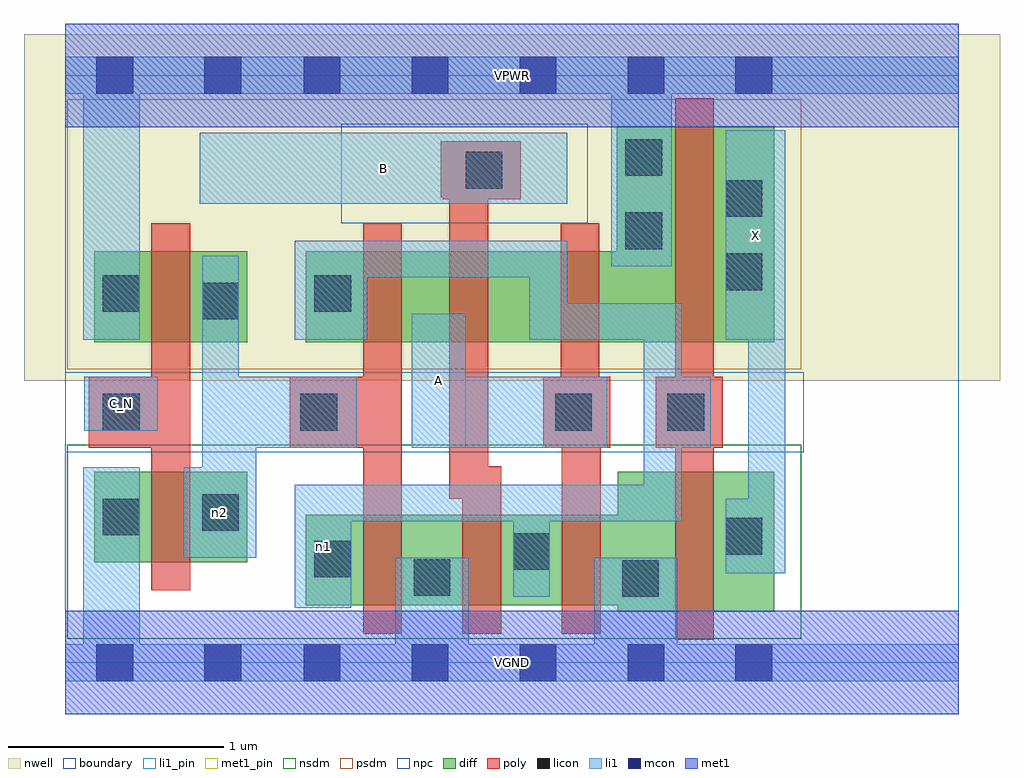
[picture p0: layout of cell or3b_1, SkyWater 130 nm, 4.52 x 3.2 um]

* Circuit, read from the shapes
.subckt or3b_1 A B C_N VGND VPWR X n1 n2
XM1 n2 C_N VGND VSUBS sky130_fd_pr__nfet_01v8 w=0.42 l=0.18
XM2 VGND n2 n1 VSUBS sky130_fd_pr__nfet_01v8 w=0.42 l=0.18
XM3 n1 B VGND VSUBS sky130_fd_pr__nfet_01v8 w=0.42 l=0.18
XM4 VGND A n1 VSUBS sky130_fd_pr__nfet_01v8 w=0.42 l=0.18
XM5 X n1 VGND VSUBS sky130_fd_pr__nfet_01v8 w=0.65 l=0.18
XM6 n2 C_N VPWR n3 sky130_fd_pr__pfet_01v8 w=0.42 l=0.18
XM7 n4 n2 n1 n3 sky130_fd_pr__pfet_01v8 w=0.42 l=0.18
XM8 n5 B n4 n3 sky130_fd_pr__pfet_01v8 w=0.42 l=0.18
XM9 VPWR A n5 n3 sky130_fd_pr__pfet_01v8 w=0.42 l=0.18
XM10 X n1 VPWR n3 sky130_fd_pr__pfet_01v8 w=1 l=0.18
.ends

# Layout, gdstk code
import gdstk
lib = gdstk.Library(unit=1e-6, precision=1e-09)
def R(c, l, rs):  # rectangles x0, y0, x1, y1
    for r in rs: c.add(gdstk.rectangle(r[:2], r[2:], *l))
def A(c, l, x, y, w, h, nx, ny, dx, dy):  # array of equal rectangles
    R(c, l, [(x+i*dx, y+j*dy, x+i*dx+w, y+j*dy+h) for i in range(nx) for j in range(ny)])
nwell = (64, 20)
diff = (65, 20)
poly = (66, 20)
licon = (66, 44)
li1_pin = (67, 16)
li1 = (67, 20)
mcon = (67, 44)
met1_pin = (68, 16)
met1 = (68, 20)
nsdm = (93, 44)
psdm = (94, 20)
npc = (95, 20)
boundary = (235, 4)

or3b_1 = lib.new_cell('or3b_1')
R(or3b_1, nwell, [(-0.19,1.305,4.33,2.91), (0,1.305,4.14,2.91)])
R(or3b_1, diff, [(2.56,0.235,3.285,0.885), (1.115,0.265,3.285,0.685), (0.135,0.465,0.845,0.885), (0.135,1.485,0.845,1.905), (1.115,1.485,3.285,1.905), (2.555,1.485,3.285,2.485)])
R(or3b_1, poly, [(2.825,0.105,3.005,2.615), (1.38,0.135,1.56,2.035), (1.84,0.135,2.02,0.91), (2.3,0.135,2.48,1.325), (0.4,0.335,0.58,2.035), (1.78,0.76,1.96,2.415), (0.11,0.995,0.58,1.325), (1.04,0.995,1.56,1.325), (2.225,0.995,2.525,1.325), (2.295,0.995,2.475,2.035), (2.735,0.995,3.045,1.325), (2.215,1.005,2.525,1.325), (1.75,2.145,2.11,2.415), (1.74,2.155,2.11,2.415)])
R(or3b_1, licon, [(2.58,0.305,2.75,0.475), (1.615,0.31,1.785,0.48), (1.155,0.395,1.325,0.565), (2.075,0.43,2.245,0.6), (3.06,0.5,3.23,0.67), (0.175,0.59,0.345,0.76), (0.635,0.61,0.805,0.78), (0.175,1.075,0.345,1.245), (1.09,1.075,1.26,1.245), (2.27,1.075,2.44,1.245), (2.79,1.075,2.96,1.245), (0.635,1.59,0.805,1.76), (0.175,1.625,0.345,1.795), (1.155,1.625,1.325,1.795), (3.06,1.725,3.23,1.895), (2.595,1.915,2.765,2.085), (3.06,2.065,3.23,2.235), (1.855,2.195,2.025,2.365), (2.595,2.255,2.765,2.425)])
R(or3b_1, li1_pin, [(1.605,0.995,1.855,1.615), (0.09,1.075,0.43,1.325), (3.06,1.495,3.335,2.465), (0.625,2.125,2.325,2.455)])
R(or3b_1, li1, [(0,-0.085,4.14,0.085), (0.085,-0.085,0.345,0.905), (1.53,-0.085,1.87,0.485), (2.45,-0.085,2.835,0.485), (1.065,0.255,1.325,0.825), (2.075,0.305,2.245,0.825), (3.06,0.415,3.335,0.76), (3.165,0.415,3.335,2.465), (0.55,0.485,0.885,0.905), (0.635,0.485,0.805,1.885), (0.635,0.485,0.885,1.325), (1.065,0.655,2.855,0.825), (2.68,0.655,2.855,1.665), (0.635,0.995,1.35,1.325), (1.605,0.995,2.51,1.325), (1.605,0.995,1.855,1.615), (2.68,0.995,2.99,1.325), (0.09,1.075,0.43,1.325), (0.085,1.495,0.345,2.805), (1.065,1.495,1.4,1.955), (2.15,1.495,2.855,1.665), (2.15,1.495,2.325,1.955), (3.06,1.495,3.335,2.465), (1.065,1.785,2.325,1.955), (2.53,1.835,2.81,2.805), (0.625,2.125,2.325,2.455), (0,2.635,4.14,2.805)])
A(or3b_1, mcon, 1.105, -0.085, 0.17, 0.17, 5, 2, 0.5, 2.72)
R(or3b_1, mcon, [(0.145,-0.085,0.315,0.085), (0.645,-0.085,0.815,0.085), (0.145,2.635,0.315,2.805), (0.645,2.635,0.815,2.805)])
R(or3b_1, met1_pin, [(0,-0.24,4.14,0.24), (0,2.48,4.14,2.96)])
R(or3b_1, met1, [(0,-0.24,4.14,0.24), (0,2.48,4.14,2.96)])
R(or3b_1, nsdm, [(0.01,0.11,3.41,1.01)])
R(or3b_1, psdm, [(0.01,1.36,3.41,2.61)])
R(or3b_1, npc, [(0,0.975,3.42,1.345), (1.28,2.035,2.42,2.495)])
R(or3b_1, boundary, [(0,0,4.14,2.72)])
or3b_1.add(gdstk.Label('A', (1.73,1.305), layer=67, texttype=5))
or3b_1.add(gdstk.Label('B', (1.475,2.29), layer=67, texttype=5))
or3b_1.add(gdstk.Label('C_N', (0.26,1.2), layer=67, texttype=5))
or3b_1.add(gdstk.Label('X', (3.197,1.98), layer=67, texttype=5))
or3b_1.add(gdstk.Label('n2', (0.717,0.695), layer=67, texttype=5))
or3b_1.add(gdstk.Label('n1', (1.195,0.54), layer=67, texttype=5))
or3b_1.add(gdstk.Label('VPWR', (2.07,2.72), layer=68, texttype=5))
or3b_1.add(gdstk.Label('VGND', (2.07,0), layer=68, texttype=5))
or3b_1.add(gdstk.Label('A', (1.73,1.305), layer=67, texttype=16))
or3b_1.add(gdstk.Label('B', (1.475,2.29), layer=67, texttype=16))
or3b_1.add(gdstk.Label('C_N', (0.26,1.2), layer=67, texttype=16))
or3b_1.add(gdstk.Label('X', (3.197,1.98), layer=67, texttype=16))
or3b_1.add(gdstk.Label('VPWR', (2.07,2.72), layer=68, texttype=16))
or3b_1.add(gdstk.Label('VGND', (2.07,0), layer=68, texttype=16))

lib.write_gds('or3b_1.gds')
